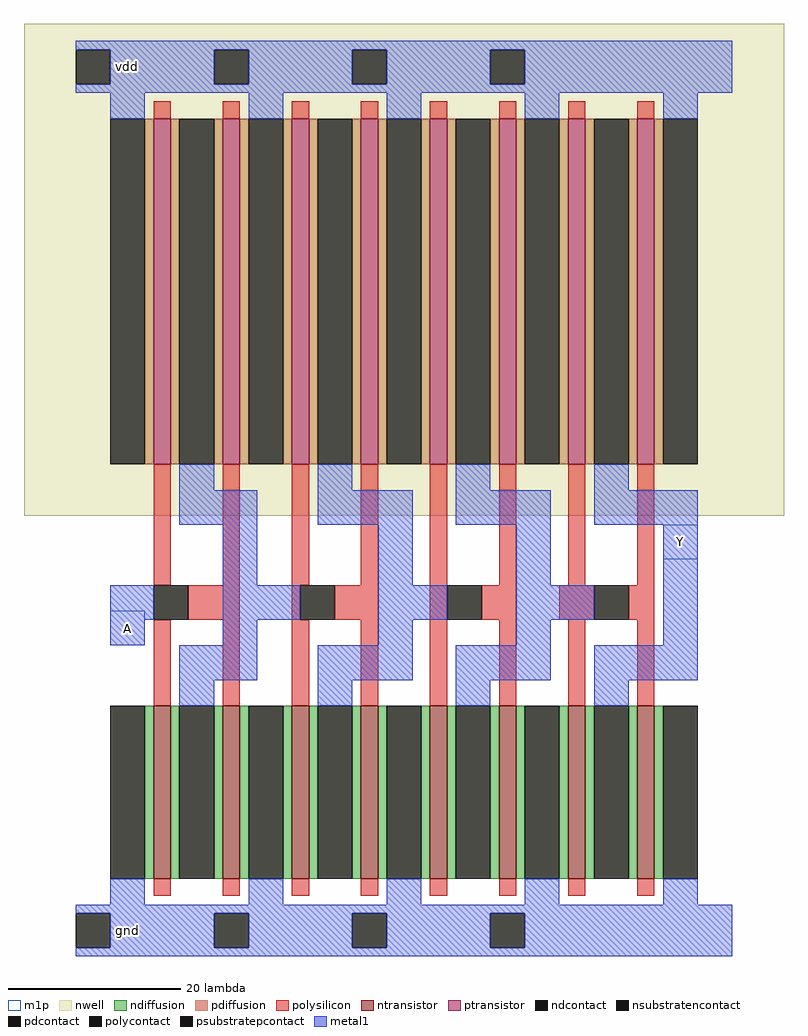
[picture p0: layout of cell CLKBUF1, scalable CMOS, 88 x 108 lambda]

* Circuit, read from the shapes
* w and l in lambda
.subckt CLKBUF1 A Y gnd vdd
M1 n1 A gnd gnd nfet w=20 l=2 m=2
M2 n2 n1 gnd gnd nfet w=20 l=2 m=2
M3 n3 n2 gnd gnd nfet w=20 l=2 m=2
M4 Y n3 gnd gnd nfet w=20 l=2 m=2
M5 n1 A vdd vdd pfet w=40 l=2 m=2
M6 n2 n1 vdd vdd pfet w=40 l=2 m=2
M7 n3 n2 vdd vdd pfet w=40 l=2 m=2
M8 Y n3 vdd vdd pfet w=40 l=2 m=2
.ends

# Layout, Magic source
magic
tech scmos
<< nwell >>
rect -8 48 80 105
<< ntransistor >>
rect 7 6 9 26
rect 15 6 17 26
rect 23 6 25 26
rect 31 6 33 26
rect 39 6 41 26
rect 47 6 49 26
rect 55 6 57 26
rect 63 6 65 26
<< ptransistor >>
rect 7 54 9 94
rect 15 54 17 94
rect 23 54 25 94
rect 31 54 33 94
rect 39 54 41 94
rect 47 54 49 94
rect 55 54 57 94
rect 63 54 65 94
<< ndiffusion >>
rect 6 6 7 26
rect 9 6 10 26
rect 14 6 15 26
rect 17 6 18 26
rect 22 6 23 26
rect 25 6 26 26
rect 30 6 31 26
rect 33 6 34 26
rect 38 6 39 26
rect 41 6 42 26
rect 46 6 47 26
rect 49 6 50 26
rect 54 6 55 26
rect 57 6 58 26
rect 62 6 63 26
rect 65 6 66 26
<< pdiffusion >>
rect 6 54 7 94
rect 9 54 10 94
rect 14 54 15 94
rect 17 54 18 94
rect 22 54 23 94
rect 25 54 26 94
rect 30 54 31 94
rect 33 54 34 94
rect 38 54 39 94
rect 41 54 42 94
rect 46 54 47 94
rect 49 54 50 94
rect 54 54 55 94
rect 57 54 58 94
rect 62 54 63 94
rect 65 54 66 94
<< ndcontact >>
rect 2 6 6 26
rect 10 6 14 26
rect 18 6 22 26
rect 26 6 30 26
rect 34 6 38 26
rect 42 6 46 26
rect 50 6 54 26
rect 58 6 62 26
rect 66 6 70 26
<< pdcontact >>
rect 2 54 6 94
rect 10 54 14 94
rect 18 54 22 94
rect 26 54 30 94
rect 34 54 38 94
rect 42 54 46 94
rect 50 54 54 94
rect 58 54 62 94
rect 66 54 70 94
<< psubstratepcontact >>
rect -2 -2 2 2
rect 14 -2 18 2
rect 30 -2 34 2
rect 46 -2 50 2
<< nsubstratencontact >>
rect -2 98 2 102
rect 14 98 18 102
rect 30 98 34 102
rect 46 98 50 102
<< polysilicon >>
rect 7 94 9 96
rect 15 94 17 96
rect 23 94 25 96
rect 31 94 33 96
rect 39 94 41 96
rect 47 94 49 96
rect 55 94 57 96
rect 63 94 65 96
rect 7 40 9 54
rect 15 40 17 54
rect 11 36 17 40
rect 7 26 9 36
rect 15 26 17 36
rect 23 40 25 54
rect 31 40 33 54
rect 23 36 24 40
rect 28 36 33 40
rect 23 26 25 36
rect 31 26 33 36
rect 39 26 41 54
rect 47 40 49 54
rect 55 40 57 54
rect 63 40 65 54
rect 45 36 49 40
rect 54 36 58 40
rect 62 36 65 40
rect 47 26 49 36
rect 55 26 57 36
rect 63 26 65 36
rect 7 4 9 6
rect 15 4 17 6
rect 23 4 25 6
rect 31 4 33 6
rect 39 4 41 6
rect 47 4 49 6
rect 55 4 57 6
rect 63 4 65 6
<< polycontact >>
rect 7 36 11 40
rect 24 36 28 40
rect 41 36 45 40
rect 58 36 62 40
<< metal1 >>
rect -2 102 74 103
rect 2 98 14 102
rect 18 98 30 102
rect 34 98 46 102
rect 50 98 74 102
rect -2 97 74 98
rect 2 94 6 97
rect 18 94 22 97
rect 34 94 38 97
rect 50 94 54 97
rect 66 94 70 97
rect 10 51 14 54
rect 26 51 30 54
rect 42 51 46 54
rect 58 51 62 54
rect 10 47 19 51
rect 26 47 37 51
rect 42 47 53 51
rect 58 47 70 51
rect 15 40 19 47
rect 33 40 37 47
rect 49 40 53 47
rect 2 36 7 40
rect 15 36 24 40
rect 33 36 41 40
rect 49 36 58 40
rect 2 33 6 36
rect 15 33 19 36
rect 33 33 37 36
rect 49 33 53 36
rect 66 33 70 47
rect 10 29 19 33
rect 26 29 37 33
rect 42 29 53 33
rect 58 29 70 33
rect 10 26 14 29
rect 26 26 30 29
rect 42 26 46 29
rect 58 26 62 29
rect 2 3 6 6
rect 18 3 22 6
rect 34 3 38 6
rect 50 3 54 6
rect 66 3 70 6
rect -2 2 74 3
rect 2 -2 14 2
rect 18 -2 30 2
rect 34 -2 46 2
rect 50 -2 74 2
rect -2 -3 74 -2
<< m1p >>
rect 66 43 70 47
rect 2 33 6 37
<< labels >>
rlabel metal1 4 35 4 35 1 A
rlabel metal1 4 100 4 100 5 vdd
rlabel metal1 4 0 4 0 1 gnd
rlabel metal1 68 45 68 45 1 Y
<< end >>
